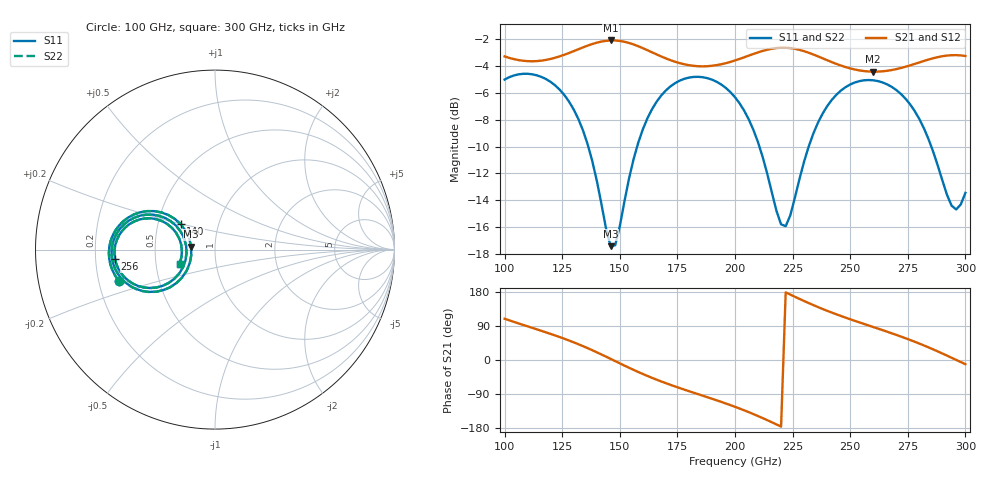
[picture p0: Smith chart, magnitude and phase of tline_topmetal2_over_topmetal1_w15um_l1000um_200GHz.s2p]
#  GHZ S DB R 50
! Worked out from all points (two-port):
!   101 points, 100 GHz to 300 GHz, reference 50 ohm
!   highest |S21| = -2.07 dB at 146 GHz (marker M1); lowest = -4.4 dB at 260 GHz (marker M2)
!   |S21| within 3 dB of the highest: start of sweep to end of sweep
!   lowest |S11| = -17.4 dB at 146 GHz (marker M3), VSWR 1.31, Z = 38.2 + j1.33 ohm
!   |S11| at or under -10 dB: 136.3 GHz to 157.5 GHz (21.2 GHz wide, 14.4 % of centre); 210.6 GHz to 232 GHz (21.37 GHz wide, 9.66 % of centre); 285.2 GHz to end of sweep
!   |S22| runs from -17.5 to -4.6 dB; largest |S21 - S12| = 8.4e-14
!   S11 on the Smith chart (normalised r, x): 100 GHz: 0.29, -0.15; 140 GHz: 0.66, +0.20; 256 GHz: 0.28, -0.04; 300 GHz: 0.66, -0.11
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100  -4.99 -162.0  -3.26 108.9  -3.26 108.9  -4.99 -161.9
116  -4.79 172.3  -3.58 76.9  -3.58 76.9  -4.79 172.3
126  -6.16 156.5  -3.13 55.9  -3.13 55.9  -6.16 156.5
134  -8.78 145.3  -2.59 36.6  -2.59 36.6  -8.78 145.3
140  -12.52 143.5  -2.24 20.4  -2.24 20.4  -12.53 143.5
146  -17.43 172.7  -2.07 3.0  -2.07 3.0  -17.46 172.6
148  -17.36 -167.4  -2.07 -2.9  -2.07 -2.9  -17.39 -167.4
158  -9.71 -140.1  -2.50 -31.6  -2.50 -31.6  -9.71 -139.9
168  -6.18 -153.4  -3.27 -56.6  -3.27 -56.6  -6.18 -153.3
184  -4.79 -178.1  -3.99 -90.2  -3.99 -90.2  -4.78 -178.0
200  -6.31 158.4  -3.57 -123.5  -3.57 -123.5  -6.30 158.6
210  -9.68 147.5  -2.96 -147.9  -2.96 -147.9  -9.67 147.7
220  -15.80 172.3  -2.61 -175.8  -2.61 -175.8  -15.76 172.4
224  -15.13 -159.8  -2.64 172.6  -2.64 172.6  -15.10 -159.9
234  -9.02 -145.3  -3.12 144.9  -3.12 144.9  -9.02 -145.3
244  -6.12 -157.4  -3.82 120.6  -3.82 120.6  -6.12 -157.3
256  -5.05 -174.5  -4.36 95.1  -4.36 95.1  -5.05 -174.4
260  -5.05 179.9  -4.40 87.0  -4.40 87.0  -5.04 179.9
268  -5.53 168.8  -4.28 70.5  -4.28 70.5  -5.53 168.9
284  -9.44 151.7  -3.50 33.3  -3.50 33.3  -9.43 151.9
294  -14.40 171.4  -3.17 6.0  -3.17 6.0  -14.39 171.5
300  -13.45 -158.2  -3.23 -11.0  -3.23 -11.0  -13.44 -158.1
